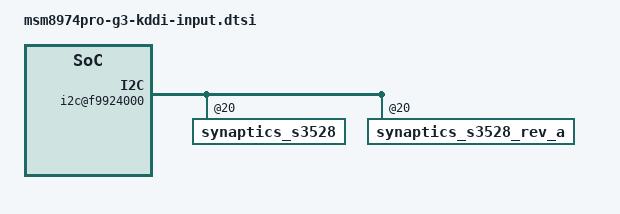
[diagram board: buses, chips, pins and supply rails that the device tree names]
/* Copyright (c) 2012, Code Aurora Forum. All rights reserved.
 *
 * This program is free software; you can redistribute it and/or modify
 * it under the terms of the GNU General Public License version 2 and
 * only version 2 as published by the Free Software Foundation.
 *
 * This program is distributed in the hope that it will be useful,
 * but WITHOUT ANY WARRANTY; without even the implied warranty of
 * MERCHANTABILITY or FITNESS FOR A PARTICULAR PURPOSE.  See the
 * GNU General Public License for more details.
 */


    &soc {
         i2c@f9924000 {
                rmi_s3528@20  {
                status = "disable";
            };

            synaptics_s3528@20 {
                status = "ok";
                revision = "rev_a";
                fw_image_s3528_a0 = "synaptics/g3_kddi_jp/PLG352-V1.08-PR1670515-DS5.5.1.0-30055188.img";
                fw_image_s3528_a1 = "synaptics/g3_kddi_jp/PLG352-V1.08-PR1670515-DS5.5.1.0-30055188.img";
                fw_image_s3528_a1_suntel = "synaptics/g3_att_us/PLG391-V1.05-PR1653201-DS5.5.1.0.1066_10055185_S3528A1.img";
				fw_image_s3528_a1_factory = "synaptics/g3_kddi_jp/PLG352-V1.05-PR1648545-DS5.5.1.0-30055185.img";
                fw_image_s3621 = "synaptics/g3_kddi_jp/PLG298-F004.img";
				panel_spec = "synaptics/g3_kddi_jp/g3_kddi_jp_limit.txt";
            };

			synaptics_s3528_rev_a@20 {
				status = "ok";
				revision = "rev_a1...";
                fw_image_s3528_a0 = "synaptics/g3_kddi_jp/PLG352-V1.08-PR1670515-DS5.5.1.0-30055188.img";
                fw_image_s3528_a1 = "synaptics/g3_kddi_jp/PLG352-V1.08-PR1670515-DS5.5.1.0-30055188.img";
                fw_image_s3528_a1_suntel = "synaptics/g3_att_us/PLG391-V1.05-PR1653201-DS5.5.1.0.1066_10055185_S3528A1.img";
				fw_image_s3528_a1_factory = "synaptics/g3_kddi_jp/PLG352-V1.05-PR1648545-DS5.5.1.0-30055185.img";
                fw_image_s3621 = "synaptics/g3_kddi_jp/PLG298-F004.img";
				panel_spec = "synaptics/g3_kddi_jp/g3_kddi_jp_limit.txt";
                /* Rx & Tx cap*/
                tx_cap = <30 12 11 11 8 0 11 6 5 9 1 2 29>;
                rx_cap = <15 6 5 10 3 9 3 1 0 5 7 6 1 56 0 10 1 3 4 3 4 9 7 22>;
		};
    };
};
